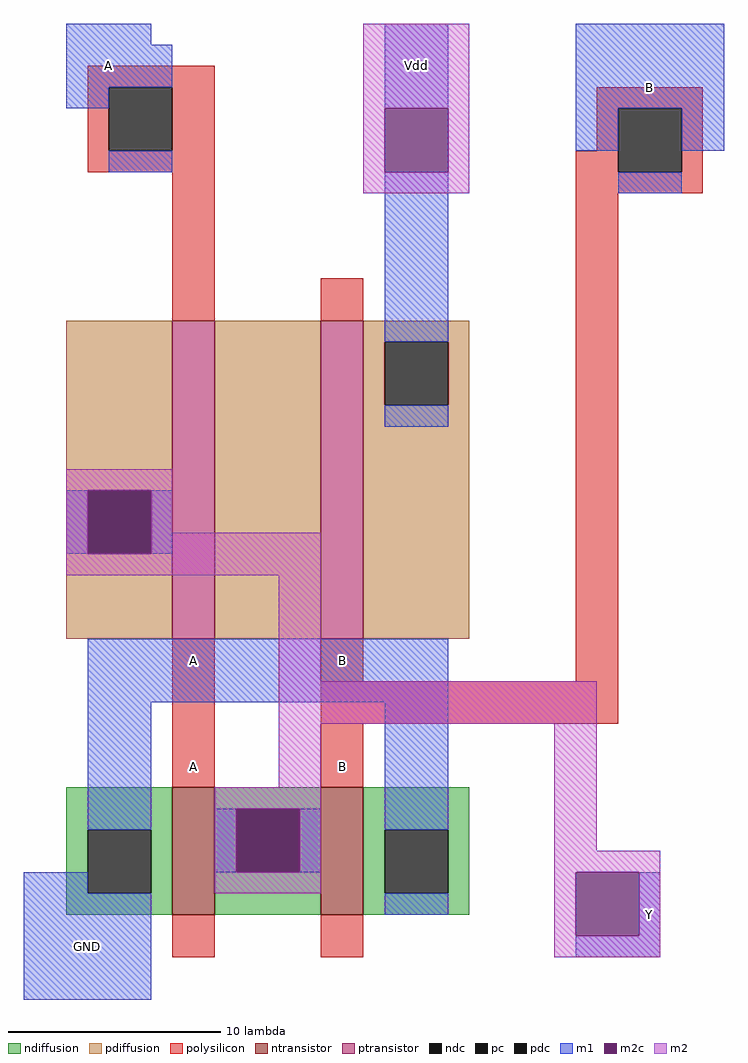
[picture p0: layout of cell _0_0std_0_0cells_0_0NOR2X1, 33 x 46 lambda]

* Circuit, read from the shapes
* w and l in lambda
.subckt _0_0std_0_0cells_0_0NOR2X1 A B GND Vdd Y
M1 Y A GND VSUBS nfet w=6 l=2
M2 GND B Y VSUBS nfet w=6 l=2
M3 n1 A Y NWELL pfet w=15 l=2
M4 Vdd B n1 NWELL pfet w=15 l=2
.ends

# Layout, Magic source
magic
tech sky130l
<< ndiffusion >>
rect 8 10 13 12
rect 8 7 9 10
rect 12 7 13 10
rect 8 6 13 7
rect 15 11 20 12
rect 15 8 16 11
rect 19 8 20 11
rect 15 6 20 8
rect 22 10 27 12
rect 22 7 23 10
rect 26 7 27 10
rect 22 6 27 7
<< ndc >>
rect 9 7 12 10
rect 16 8 19 11
rect 23 7 26 10
<< ntransistor >>
rect 13 6 15 12
rect 20 6 22 12
<< pdiffusion >>
rect 8 26 13 34
rect 8 23 9 26
rect 12 23 13 26
rect 8 19 13 23
rect 15 19 20 34
rect 22 33 27 34
rect 22 30 23 33
rect 26 30 27 33
rect 22 19 27 30
<< pdc >>
rect 9 23 12 26
rect 23 30 26 33
<< ptransistor >>
rect 13 19 15 34
rect 20 19 22 34
<< polysilicon >>
rect 9 45 15 46
rect 9 42 10 45
rect 13 42 15 45
rect 33 44 38 45
rect 33 42 34 44
rect 9 41 15 42
rect 13 34 15 41
rect 32 41 34 42
rect 37 41 38 44
rect 32 40 38 41
rect 20 34 22 36
rect 13 12 15 19
rect 20 17 22 19
rect 32 17 34 40
rect 20 15 34 17
rect 20 12 22 15
rect 13 4 15 6
rect 20 4 22 6
<< pc >>
rect 10 42 13 45
rect 34 41 37 44
<< m1 >>
rect 8 47 12 48
rect 8 45 13 47
rect 8 44 10 45
rect 10 41 13 42
rect 23 44 26 48
rect 32 44 39 48
rect 32 42 34 44
rect 23 33 26 41
rect 37 42 39 44
rect 34 40 37 41
rect 23 29 26 30
rect 8 23 9 26
rect 12 23 13 26
rect 9 16 26 19
rect 9 10 12 16
rect 6 7 9 8
rect 15 8 16 11
rect 19 8 20 11
rect 23 10 26 16
rect 6 2 12 7
rect 23 6 26 7
rect 35 5 36 8
rect 32 4 36 5
<< m2c >>
rect 23 41 26 44
rect 9 23 12 26
rect 16 8 19 11
rect 32 5 35 8
<< m2 >>
rect 22 44 27 48
rect 22 41 23 44
rect 26 41 27 44
rect 22 40 27 41
rect 8 26 13 27
rect 8 23 9 26
rect 12 24 13 26
rect 12 23 20 24
rect 8 22 20 23
rect 18 17 20 22
rect 18 15 33 17
rect 18 12 20 15
rect 15 11 20 12
rect 15 8 16 11
rect 19 8 20 11
rect 15 7 20 8
rect 31 9 33 15
rect 31 8 36 9
rect 31 5 32 8
rect 35 5 36 8
rect 31 4 36 5
<< labels >>
rlabel polysilicon 21 13 21 13 3 B
rlabel polysilicon 21 18 21 18 3 B
rlabel polysilicon 14 13 14 13 3 A
rlabel polysilicon 14 18 14 18 3 A
rlabel m1 8 44 12 48 5 A
rlabel m2 22 44 27 48 5 Vdd
rlabel m1 32 42 39 48 6 B
rlabel m1 6 2 12 7 2 GND
rlabel m2 35 4 36 8 8 Y
<< end >>
